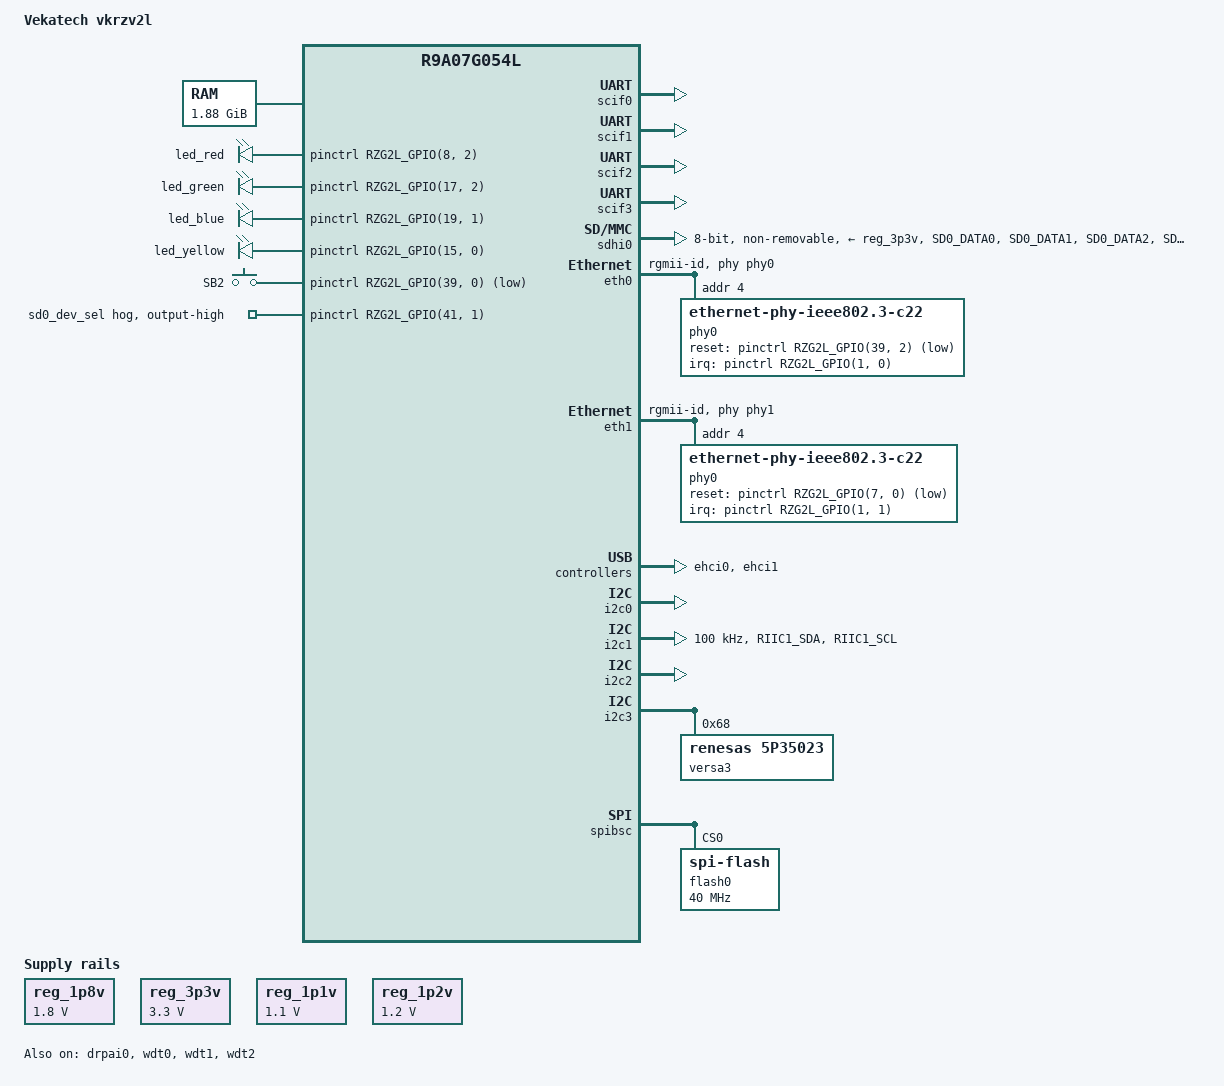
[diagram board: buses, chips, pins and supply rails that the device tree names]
// SPDX-License-Identifier: GPL-2.0
/*
 * Device Tree Source for the VK-RZV2L board
 *
 * Copyright (C) 2017 Jacopo Mondi <jacopo+renesas@jmondi.org>
 * Copyright (C) 2016 Renesas Electronics
 */

/dts-v1/;
#include <dt-bindings/gpio/gpio.h>
#include "r9a07g054l.dtsi"
#include "r9a07g054l-u-boot.dtsi"
#include <dt-bindings/pinctrl/rzv2l-pinctrl.h>

/ {
	model = "Vekatech vkrzv2l";
	compatible = "renesas,r9a07g054l", "renesas,rzv2l";

	aliases {
		ethernet0 = &eth0;
		ethernet1 = &eth1;
		serial0 = &scif0;
		serial1 = &scif1;
		serial2 = &scif2;
		serial3 = &scif3;
		spi0 = &spibsc;
		i2c0 = &i2c0;
		i2c1 = &i2c1;
		i2c3 = &i2c3;
	};

	chosen {
		stdout-path = "serial0:115200n8";
	};

	memory@48000000 {
		device_type = "memory";
		/* first 128MB is reserved for secure area. */
		reg = <0 0x48000000 0 0x78000000>;
	};

	reserved-memory {
		#address-cells = <2>;
		#size-cells = <2>;
		ranges;

		global_cma: linux,cma@58000000 {
			compatible = "shared-dma-pool";
			linux,cma-default;
			reusable;
			reg = <0x0 0x58000000 0x0 0x10000000>;
		};

		mmp_reserved: linux,multimedia {
			compatible = "shared-dma-pool";
			reusable;
			reg = <0x00000000 0x68000000 0x0 0x8000000>;
		};

		/* device specific region for contiguous allocations */
		drp_reserved: DRP-AI {
			reusable;
			reg = <0x0 0x80000000 0x0 0x20000000>;
		};

		image_buf0: image_buf@0 {
			compatible = "shared-dma-pool";
			reusable;
			reg = <0x0 0xB0000000 0x0 0x04000000>;
			label = "image_buf0";
		};

		isp_work0: SIMPLE_ISP {
			reusable;
			reg = <0x0 0xB4000000 0x0 0x03000000>;
		};
	};

	udmabuf@0 {
		compatible = "ikwzm,u-dma-buf";
		device-name = "udmabuf0";
		minor-number = <0>;
		size = <0x4000000>; /* 64MiB */
		dma-coherent;
		memory-region = <&image_buf0>;
	};

	mmngr {
		compatible = "renesas,mmngr";
		memory-region = <&mmp_reserved>;
	};

	mmngrbuf {
		compatible = "renesas,mmngrbuf";
	};

	vspm_if {
		compatible = "renesas,vspm_if";
	};

	reg_1p8v: regulator0 {
		compatible = "regulator-fixed";
		regulator-name = "fixed-1.8V";
		regulator-min-microvolt = <1800000>;
		regulator-max-microvolt = <1800000>;
		regulator-boot-on;
		regulator-always-on;
	};

	reg_3p3v: regulator1 {
		compatible = "regulator-fixed";
		regulator-name = "fixed-3.3V";
		regulator-min-microvolt = <3300000>;
		regulator-max-microvolt = <3300000>;
		regulator-boot-on;
		regulator-always-on;
	};
	
	reg_1p1v: regulator-vdd-core {
		compatible = "regulator-fixed";
		regulator-name = "fixed-1.1V";
		regulator-min-microvolt = <1100000>;
		regulator-max-microvolt = <1100000>;
		regulator-boot-on;
		regulator-always-on;
	};

	reg_1p2v: regulator-ddr {
		compatible = "regulator-fixed";
		regulator-name = "fixed-1.2V";
		regulator-min-microvolt = <1200000>;
		regulator-max-microvolt = <1200000>;
		regulator-boot-on;
		regulator-always-on;
	};

	leds {
		compatible = "gpio-leds";
		led_red {
			gpios = <&pinctrl RZG2L_GPIO(8, 2) GPIO_ACTIVE_HIGH>;
			linux,default-trigger = "heartbeat";
			default-state = "on";
		};

		led_green {
			gpios = <&pinctrl RZG2L_GPIO(17, 2) GPIO_ACTIVE_HIGH>;
			default-state = "off";
		};

		led_blue {
			gpios = <&pinctrl RZG2L_GPIO(19, 1) GPIO_ACTIVE_HIGH>;
			default-state = "off";
		};

		led_yellow {
			gpios = <&pinctrl RZG2L_GPIO(15, 0) GPIO_ACTIVE_HIGH>;
			default-state = "off";
		};
	};

	/* RZ/V2L don't support both falling-edge and rising-edge detect */
	keys {
		compatible = "gpio-keys";
		user_key {
			label = "SB2";
			linux,code = <KEY_1>;
			debounce-interval = <20>;
			gpios = <&pinctrl RZG2L_GPIO(39, 0) GPIO_ACTIVE_LOW>;
		};
	};

	backlight: backlight {
		compatible = "pwm-backlight";
		enable-gpios = <&pinctrl RZG2L_GPIO(43, 3) GPIO_ACTIVE_HIGH>;
		pwms = <&gpt5 0 40000 0>;
		brightness-levels = <0 8 32 64 96 128 160 192 224 255>;
		default-brightness-level = <8>;
		status = "disabled";
	};

	usb0-select {
		label = "usb0-sel";
		gpios = <&P5 2 GPIO_ACTIVE_HIGH>;
	};
};

&pinctrl {
	eth0_pins: eth0 {
		pinmux = <RZV2L_PINMUX(20, 0, 1)>,
			<RZV2L_PINMUX(20, 1, 1)>,
			<RZV2L_PINMUX(20, 2, 1)>,
			<RZV2L_PINMUX(21, 0, 1)>,
			<RZV2L_PINMUX(21, 1, 1)>,
			<RZV2L_PINMUX(22, 0, 1)>,
			<RZV2L_PINMUX(23, 0, 1)>,
			<RZV2L_PINMUX(23, 1, 1)>,
			<RZV2L_PINMUX(24, 0, 1)>,
			<RZV2L_PINMUX(24, 1, 1)>,
			<RZV2L_PINMUX(25, 0, 1)>,
			<RZV2L_PINMUX(25, 1, 1)>,
			<RZV2L_PINMUX(26, 0, 1)>,
			<RZV2L_PINMUX(26, 1, 1)>,
			<RZV2L_PINMUX(27, 0, 1)>,
			<RZV2L_PINMUX(27, 1, 1)>,
			<RZV2L_PINMUX(28, 0, 1)>,
			<RZV2L_PINMUX(28, 1, 1)>;
	};

	eth1_pins: eth1 {
		pinmux = <RZG2L_PORT_PINMUX(37, 2, 1)>, /* ET1_LINKSTA */
			 <RZG2L_PORT_PINMUX(37, 0, 1)>, /* ET1_MDC */
			 <RZG2L_PORT_PINMUX(37, 1, 1)>, /* ET1_MDIO */
			 <RZG2L_PORT_PINMUX(29, 0, 1)>, /* ET1_TXC */
			 <RZG2L_PORT_PINMUX(29, 1, 1)>, /* ET1_TX_CTL */
			 <RZG2L_PORT_PINMUX(30, 0, 1)>, /* ET1_TXD0 */
			 <RZG2L_PORT_PINMUX(30, 1, 1)>, /* ET1_TXD1 */
			 <RZG2L_PORT_PINMUX(31, 0, 1)>, /* ET1_TXD2 */
			 <RZG2L_PORT_PINMUX(31, 1, 1)>, /* ET1_TXD3 */
			 <RZG2L_PORT_PINMUX(33, 1, 1)>, /* ET1_RXC */
			 <RZG2L_PORT_PINMUX(34, 0, 1)>, /* ET1_RX_CTL */
			 <RZG2L_PORT_PINMUX(34, 1, 1)>, /* ET1_RXD0 */
			 <RZG2L_PORT_PINMUX(35, 0, 1)>, /* ET1_RXD1 */
			 <RZG2L_PORT_PINMUX(35, 1, 1)>, /* ET1_RXD2 */
			 <RZG2L_PORT_PINMUX(36, 0, 1)>; /* ET1_RXD3 */
	};

	i2c0_pins: i2c0 {
		pins = "RIIC0_SDA", "RIIC0_SCL";
		input-enable;
	};

	i2c1_pins: i2c1 {
		pins = "RIIC1_SDA", "RIIC1_SCL";
		input-enable;
	};

	i2c2_pins: i2c2 {
			pinmux = <RZV2L_PINMUX(46, 0, 4)>,
						<RZV2L_PINMUX(46, 1, 4)>;
	}; 

	i2c3_pins: i2c3 {
			pinmux = <RZV2L_PINMUX(18, 0, 3)>,
						<RZV2L_PINMUX(18, 1, 3)>;
	}; 

	scif1_pins: scif1 {
			pinmux = <RZV2L_PINMUX(40, 0, 1)>,
						<RZV2L_PINMUX(40, 1, 1)>;
	};

	scif2_pins: scif2 {
			pinmux = <RZV2L_PINMUX(48, 0, 1)>,
						<RZV2L_PINMUX(48, 1, 1)>;
	};

	scif3_pins: scif3 {
			pinmux = <RZV2L_PINMUX(0, 0, 4)>,
						<RZV2L_PINMUX(0, 1, 4)>;
	};

	gpt5_pins: gpt5 {
		pinmux = <RZG2L_PORT_PINMUX(43, 2, 2)>; /* Channel A */
	};

/*
	 * SD0 device selection is XOR between GPIO_SD0_DEV_SEL and SW1[2]
	 * The below switch logic can be used to select the device between
	 * eMMC and microSD, after setting GPIO_SD0_DEV_SEL to high in DT.
	 * SW1[2] should be at position 2/OFF to enable 64 GB eMMC
	 * SW1[2] should be at position 3/ON to enable uSD card CN3
	 */
	sd0-dev-sel-hog {
		gpio-hog;
		gpios = <RZG2L_GPIO(41, 1) GPIO_ACTIVE_HIGH>;
		output-high;
		line-name = "sd0_dev_sel";
	};

	sdhi0_emmc_pins: sd0emmc {
		sd0_emmc_data {
			pins = "SD0_DATA0", "SD0_DATA1", "SD0_DATA2", "SD0_DATA3",
			       "SD0_DATA4", "SD0_DATA5", "SD0_DATA6", "SD0_DATA7";
			power-source = <1800>;
		};

		sd0_emmc_ctrl {
			pins = "SD0_CLK", "SD0_CMD";
			power-source = <1800>;
		};

		sd0_emmc_rst {
			pins = "SD0_RST#";
			power-source = <1800>;
		};
	};

	sdhi0_pins: sd0 {
		sd0_data {
			pins = "SD0_DATA0", "SD0_DATA1", "SD0_DATA2", "SD0_DATA3";
			power-source = <3300>;
		};

		sd0_ctrl {
			pins = "SD0_CLK", "SD0_CMD";
			power-source = <3300>;
		};

		sd0_mux {
			pinmux = <RZG2L_PORT_PINMUX(47, 0, 2)>; /* SD0_CD */
		};
	};

	sdhi0_pins_uhs: sd0_uhs {
		sd0_data_uhs {
			pins = "SD0_DATA0", "SD0_DATA1", "SD0_DATA2", "SD0_DATA3";
			power-source = <1800>;
		};

		sd0_ctrl_uhs {
			pins = "SD0_CLK", "SD0_CMD";
			power-source = <1800>;
		};

		sd0_mux_uhs {
			pinmux = <RZG2L_PORT_PINMUX(47, 0, 2)>; /* SD0_CD */
		};
	};

};

&xinclk {
        clock-frequency = <24000000>;
};

&gpu {
	mali-supply = <&reg_1p1v>;
};

&drpai0 {
	memory-region = <&drp_reserved>;
	linux-memory-region = < &{/memory@48000000} >;
	status = "okay";
};

&wdt0 {
	status = "okay";
	timeout-sec = <60>;
};

&wdt1 {
	status = "okay";
	timeout-sec = <60>;
};

&wdt2 {
	status = "okay";
	timeout-sec = <60>;
};

&scif0 {
        status = "okay";
        clock = <100000000>;
};

&scif1 {
        pinctrl-names = "default";
        pinctrl-0 = <&scif1_pins>;

        status = "okay";
};

&scif2 {
        pinctrl-names = "default";
        pinctrl-0 = <&scif2_pins>;

        status = "okay";
};


&scif3 {
        pinctrl-names = "default";
        pinctrl-0 = <&scif3_pins>;

        status = "okay";
};

&sdhi0 {
	pinctrl-0 = <&sdhi0_pins>;
	pinctrl-1 = <&sdhi0_pins_uhs>;
	pinctrl-names = "default", "state_uhs";

	vmmc-supply = <&reg_3p3v>;
	bus-width = <4>;
	sd-uhs-sdr50;
	sd-uhs-sdr104;
	status = "okay";
};

&sdhi0 {
	pinctrl-0 = <&sdhi0_emmc_pins>;
	pinctrl-1 = <&sdhi0_emmc_pins>;
	pinctrl-names = "default", "state_uhs";

	vmmc-supply = <&reg_3p3v>;
	vqmmc-supply = <&reg_1p8v>;
	bus-width = <8>;
	mmc-hs200-1_8v;
	non-removable;
	fixed-emmc-driver-type = <1>;
	status = "okay";
};

&eth0 {
	pinctrl-names = "default";
	pinctrl-0 = <&eth0_pins>;
	phy-handle = <&phy0>;
	phy-mode = "rgmii-id";
	status = "okay";

	phy0: ethernet-phy@1 {
		compatible = "ethernet-phy-ieee802.3-c22";
		reg = <4>;
		reset-gpios = <&pinctrl RZG2L_GPIO(39, 2) GPIO_ACTIVE_LOW>;
		interrupt-parent = <&pinctrl>;
		interrupts = <RZG2L_GPIO(1, 0) IRQ_TYPE_LEVEL_LOW>;
	};
};

&eth1 {
	pinctrl-names = "default";
	pinctrl-0 = <&eth1_pins>;
	phy-handle = <&phy1>;
	phy-mode = "rgmii-id";
	status = "okay";

	phy0: ethernet-phy@2 {
		compatible = "ethernet-phy-ieee802.3-c22";
		reg = <4>;
		reset-gpios = <&pinctrl RZG2L_GPIO(7, 0) GPIO_ACTIVE_LOW>;
		interrupt-parent = <&pinctrl>;
		interrupts = <RZG2L_GPIO(1, 1) IRQ_TYPE_LEVEL_LOW>;
	};
};

&ehci0 {
        status = "okay";
}; 

&ehci1 {
        status = "okay";
};


&i2c0 {
        pinctrl-names = "default";
        status = "okay";
};

&i2c1 {
	pinctrl-0 = <&i2c1_pins>;
	pinctrl-names = "default";
	clock-frequency = <100000>;
	status = "okay";

	it6161: hdmi@6c {
		compatible = "ite,it6161";
		reg = <0x6c>;
		status = "disabled";

		it6161-addr-hdmi-tx = <0x4c>;
		interrupt-parent = <&pinctrl>;
		interrupts = <RZG2L_GPIO(1, 1) IRQ_TYPE_NONE>;

		switch-gpios = <&pinctrl RZG2L_GPIO(43, 0) GPIO_ACTIVE_LOW>;
		reset-gpios = <&pinctrl RZG2L_GPIO(19, 0) GPIO_ACTIVE_LOW>;

		#sound-dai-cells = <0>;
		ports {
			#address-cells = <1>;
			#size-cells = <0>;

			port@1 {
				reg = <1>;
				it6161_out: endpoint@1 {
					remote-endpoint = <&hdmi_con_out>;
				};
			};

			port@2 {
				reg = <2>;
				codec_endpoint: endpoint {
					remote-endpoint = <&i2s2_cpu_endpoint>;
				};
			};
		};
	};

	gt911: gt911_ts@14 {
		compatible = "goodix,gt911";
		reg = <0x14>;

		interrupt-parent = <&pinctrl>;
		interrupts = <RZG2L_GPIO(2, 1) IRQ_TYPE_EDGE_FALLING>;
		irq-gpios = <&pinctrl RZG2L_GPIO(2, 1) GPIO_ACTIVE_HIGH>;   /* DSI_TS_nINT */
		reset-gpios = <&pinctrl RZG2L_GPIO(43, 1) GPIO_ACTIVE_HIGH>; /* DSI_TS_RST */
		touchscreen-size-x = <720>;
		touchscreen-size-y = <1280>;
		status = "disabled";
	};
};

&i2c2 {
        pinctrl-0 = <&i2c2_pins>;
        pinctrl-names = "default";
        status = "okay";
};

&i2c3 {
        pinctrl-0 = <&i2c3_pins>;
        pinctrl-names = "default";
        status = "okay";

        versa3: versa3@68 {
                compatible = "renesas,5p35023";
                reg = <0x68>;
                #clock-cells = <1>;
                clocks = <&xinclk>;
                clock-names = "x1";
                renesas,settings = [
                 00 00 11 19 00 42 cc 2b 04 32 00 1a 5f 12 90 79
                 02 4c 00 00 00 00 00 00 10 24 19 bf 3f 30 90 86
                 80 b2 05 c4 9c 
                ];
                assigned-clocks = <&versa3 0>,
                                  <&versa3 1>,
                                  <&versa3 2>,
                                  <&versa3 3>,
                                  <&versa3 4>,
                                  <&versa3 5>;
                assigned-clock-rates = <12288000>, <25000000>,
                                       <25000000>, <12288000>,
                                       <11289600>, <24000000>;
        };
};

&spibsc {
        num-cs = <1>;
        status = "okay";
        spi-max-frequency = <40000000>;
        #address-cells = <1>;
        #size-cells = <0>;
        flash0: spi-flash@0 {
                #address-cells = <1>;
                #size-cells = <1>;
                compatible = "spi-flash", "jedec,spi-nor";
                spi-max-frequency = <40000000>;
                spi-tx-bus-width = <1>;
                spi-rx-bus-width = <1>;
                reg = <0>;
                status = "okay";
        };
};

&gpt5 {
	pinctrl-0 = <&gpt5_pins>;
	pinctrl-names = "default";
	channel="channel_A";
	poeg = <&poegd>;
	status = "disabled";
};

&dsi0 {
	status = "disabled";
	#address-cells = <1>;
	#size-cells = <0>;

	mipi_panel: panel@0 {
		compatible = "ilitek,ili9881c";
		reg = <0>;
		dsi-lanes = <2>;
		switch-gpios = <&pinctrl RZG2L_GPIO(43, 0) GPIO_ACTIVE_HIGH>;
		backlight = <&backlight>;
		status = "disabled";
	};
};
